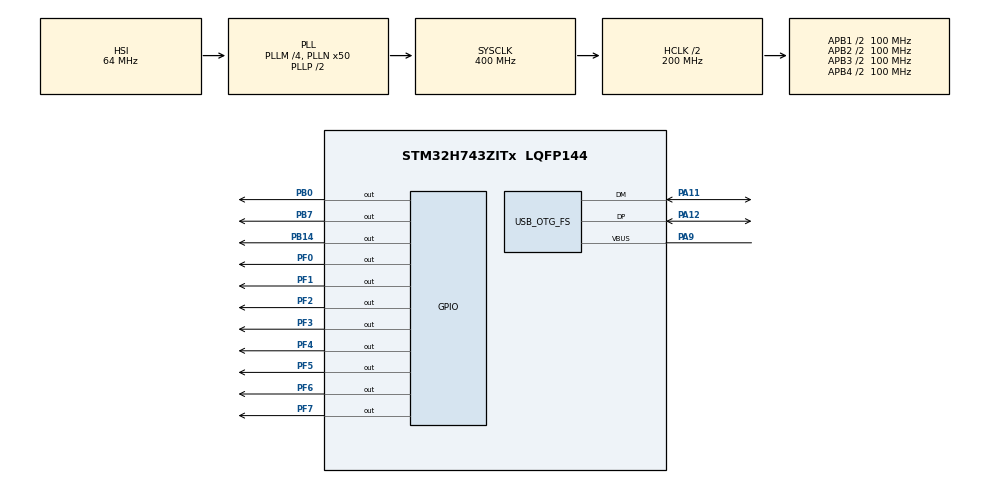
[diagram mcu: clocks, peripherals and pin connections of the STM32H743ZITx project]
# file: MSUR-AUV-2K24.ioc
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CORTEX_M7.CPU_DCache=Enabled
CORTEX_M7.CPU_ICache=Enabled
HRTIM.CompareUnit1-MasterTimer=HRTIM_COMPAREUNIT_1
HRTIM.CompareUnit2-MasterTimer=HRTIM_COMPAREUNIT_2
HRTIM.CompareValue1-MasterTimer=500
HRTIM.CompareValue2-MasterTimer=1000
HRTIM.InterruptRequests1_Master=HRTIM_MASTER_IT_MCMP1
HRTIM.InterruptRequests2_Master=HRTIM_MASTER_IT_MCMP2
HRTIM.InterruptRequests3_Master=HRTIM_MASTER_IT_MREP
HRTIM.InterruptRequests4_Master=HRTIM_MASTER_IT_MUPD
HRTIM.NumberInterruptRequests_Master-MasterTimer=7
HRTIM.Periode_MASTER=1332
Mcu.Family=STM32H7
Mcu.Name=STM32H743ZITx
Mcu.Package=LQFP144
NVIC.HRTIM1_Master_IRQn=true\:0\:0\:false\:false\:true\:true\:true\:true
NVIC.OTG_FS_IRQn=true\:0\:0\:false\:false\:true\:false\:true\:true
NVIC.PriorityGroup=NVIC_PRIORITYGROUP_4
PA11.Mode=Device_Only
PA11.Signal=USB_OTG_FS_DM
PA12.Mode=Device_Only
PA12.Signal=USB_OTG_FS_DP
PA9.Mode=Activate_VBUS
PA9.Signal=USB_OTG_FS_VBUS
PB0.GPIO_Speed=GPIO_SPEED_FREQ_VERY_HIGH
PB0.PinState=GPIO_PIN_RESET
PB0.Signal=GPIO_Output
PB14.GPIO_Speed=GPIO_SPEED_FREQ_VERY_HIGH
PB14.Signal=GPIO_Output
PB7.GPIO_FM7=SYSCFG_PMCR_I2C_PB7_FMP
PB7.GPIO_Speed=GPIO_SPEED_FREQ_VERY_HIGH
PB7.Signal=GPIO_Output
PC14-OSC32_IN\ (OSC32_IN).Mode=LSE-External-Oscillator
PC14-OSC32_IN\ (OSC32_IN).Signal=RCC_OSC32_IN
PC15-OSC32_OUT\ (OSC32_OUT).Mode=LSE-External-Oscillator
PC15-OSC32_OUT\ (OSC32_OUT).Signal=RCC_OSC32_OUT
PF0.GPIO_Speed=GPIO_SPEED_FREQ_VERY_HIGH
PF0.Signal=GPIO_Output
PF1.GPIO_Speed=GPIO_SPEED_FREQ_VERY_HIGH
PF1.Signal=GPIO_Output
PF2.GPIO_Speed=GPIO_SPEED_FREQ_VERY_HIGH
PF2.Signal=GPIO_Output
PF3.GPIO_Speed=GPIO_SPEED_FREQ_VERY_HIGH
PF3.Signal=GPIO_Output
PF4.GPIO_Speed=GPIO_SPEED_FREQ_VERY_HIGH
PF4.Signal=GPIO_Output
PF5.GPIO_Speed=GPIO_SPEED_FREQ_VERY_HIGH
PF5.Signal=GPIO_Output
PF6.GPIO_Speed=GPIO_SPEED_FREQ_VERY_HIGH
PF6.Signal=GPIO_Output
PF7.GPIO_Speed=GPIO_SPEED_FREQ_VERY_HIGH
PF7.Signal=GPIO_Output
PH0-OSC_IN\ (PH0).Mode=HSE-External-Oscillator
PH0-OSC_IN\ (PH0).Signal=RCC_OSC_IN
PH1-OSC_OUT\ (PH1).Mode=HSE-External-Oscillator
PH1-OSC_OUT\ (PH1).Signal=RCC_OSC_OUT
ProjectManager.HeapSize=0x400
ProjectManager.StackSize=0x400
ProjectManager.TargetToolchain=STM32CubeIDE
RCC.ADCFreq_Value=129000000
RCC.APB1Freq_Value=100000000
RCC.APB2Freq_Value=100000000
RCC.APB3Freq_Value=100000000
RCC.APB4Freq_Value=100000000
RCC.CortexFreq_Value=50000000
RCC.Cortex_Div=SYSTICK_CLKSOURCE_HCLK_DIV8
RCC.D1PPRE=RCC_APB3_DIV2
RCC.D2PPRE1=RCC_APB1_DIV2
RCC.D2PPRE2=RCC_APB2_DIV2
RCC.D3PPRE=RCC_APB4_DIV2
RCC.DIVM1=4
RCC.DIVN1=50
RCC.FLatency=FLASH_LATENCY_2
RCC.FLatency-AdvancedSettings=FLASH_LATENCY_1
RCC.HCLKFreq_Value=200000000
RCC.HPRE=RCC_HCLK_DIV2
RCC.HRTIMCLockSelection=RCC_HRTIM1CLK_CPUCLK
RCC.PLL2FRACN=0
RCC.PLL2_VCI_Range-AdvancedSettings=RCC_PLL2VCIRANGE_1
RCC.PLL2_VCO_SEL-AdvancedSettings=RCC_PLL2VCOMEDIUM
RCC.PLL3FRACN=0
RCC.PLLFRACN=0
RCC.PLLSourceVirtual=RCC_PLLSOURCE_HSI
RCC.SYSCLKFreq_VALUE=400000000
RCC.SYSCLKSource=RCC_SYSCLKSOURCE_PLLCLK
RCC.USBCLockSelection=RCC_USBCLKSOURCE_HSI48
RCC.USBFreq_Value=48000000
USB_DEVICE.CLASS_NAME_FS=CDC
USB_DEVICE.USBD_DEBUG_LEVEL-CDC_FS=3
USB_DEVICE.VirtualMode-CDC_FS=Cdc
USB_DEVICE.VirtualModeFS=Cdc_FS
USB_OTG_FS.VirtualMode=Device_Only
USB_OTG_FS.battery_charging_enable=DISABLE
VP_HRTIM_VS_hrtimMasterTimerNoOutput.Mode=MasterTimer
VP_USB_DEVICE_VS_USB_DEVICE_CDC_FS.Mode=CDC_FS
board=custom

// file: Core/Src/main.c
/* USER CODE BEGIN Header */
/**
  ******************************************************************************
  * @file           : main.c
  * @brief          : Main program body
  ******************************************************************************
  * @attention
  *
  * Copyright (c) 2023 STMicroelectronics.
  * All rights reserved.
  *
  * This software is licensed under terms that can be found in the LICENSE file
  * in the root directory of this software component.
  * If no LICENSE file comes with this software, it is provided AS-IS.
  *
  ******************************************************************************
  */
/* USER CODE END Header */
#include "main.h"
#include "usb_device.h"

/* USER CODE BEGIN Includes */
#include "logger.h"

/* USER CODE END Includes */

HRTIM_HandleTypeDef hhrtim;

/* USER CODE BEGIN PV */

uint32_t DMA_GPIOB_On = 1<<14;

uint32_t DMA_GPIOB_Off = 1<<30;

/** Data to recv over USB CDC are stored in this buffer   */
uint8_t CDCRxBufferFS[FS_RX_DATA_SIZE];

/** Data to send over USB CDC are stored in this buffer   */
uint8_t CDCTxBufferFS[FS_TX_DATA_SIZE];

uint32_t TimMRollovers;

uint32_t TimMBit1s;

uint32_t TimMBit0s;

uint32_t Tim16Interrupts;

uint8_t UserInputBuffer[FS_RX_DATA_SIZE/2];
int bufferLen;
/* USER CODE END PV */

void SystemClock_Config(void);
static void MX_GPIO_Init(void);
static void MX_HRTIM_Init(void);

int main(void)
{
/* Enable the CPU Cache */

  /* Enable I-Cache---------------------------------------------------------*/
  SCB_EnableICache();

  /* Enable D-Cache---------------------------------------------------------*/
  SCB_EnableDCache();

  /* MCU Configuration--------------------------------------------------------*/

  /* Reset of all peripherals, Initializes the Flash interface and the Systick. */
  HAL_Init();

  /* Configure the system clock */
  SystemClock_Config();

  /* Initialize all configured peripherals */
  MX_GPIO_Init();
  MX_USB_DEVICE_Init();
  MX_HRTIM_Init();
  /* USER CODE BEGIN 2 */

  HAL_HRTIM_SimpleBaseStart_IT(&hhrtim, HRTIM_TIMERINDEX_MASTER);

  /* USER CODE END 2 */

  /* Infinite loop */
  /* USER CODE BEGIN WHILE */
  uint32_t oldtick = HAL_GetTick();
  uint32_t newtick = oldtick;
  while (1)
  {
	  memset(CDCRxBufferFS, '\0', strlen(CDCRxBufferFS));

	  CDC_OTG_Recv(CDCRxBufferFS);
	  if(strlen(CDCRxBufferFS) > 0){
		  LOG_CDC_FS(TRACE, "%d %d", CDCRxBufferFS[0], CDCRxBufferFS[1]);
		  if(strcmp(CDCRxBufferFS, "a")==0)
		  	HAL_GPIO_TogglePin(GPIOB, GPIO_PIN_0);
		  if(strcmp(CDCRxBufferFS, "s")==0)
		    HAL_GPIO_TogglePin(GPIOB, GPIO_PIN_7);
		  if(strcmp(CDCRxBufferFS, "d")==0)
		  	HAL_GPIO_TogglePin(GPIOB, GPIO_PIN_14);

	  }

	  newtick = HAL_GetTick();
	  if(oldtick + 999 < newtick){
		  LOG_CDC_FS(INFO, "Interrupts from last %d ms: %d rollovers, %d 1s, %d 0s", newtick - oldtick, TimMRollovers, TimMBit1s, TimMBit0s);
		  PrepareFrame(1500, 1, ESC_0, THR_0);
		  TimMRollovers = 0;
		  TimMBit1s = 0;
		  TimMBit0s = 0;
		  oldtick = newtick;
	  }
	  /* Set and reset TD1 by software */

//	  GPIOB->BSRR = 0b100000000000000;
//	  //              ^      ^      ^
//	  GPIOB->BSRR = 0b000000010000000;
//	  //              ^      ^      ^
//	  GPIOB->BSRR = 0b000000000000001;
//	  //              ^      ^      ^
//	  GPIOB->BSRR = 0b100000000000000<<16;
//	  //              ^      ^      ^
//	  GPIOB->BSRR = 0b000000010000000<<16;
//	  //              ^      ^      ^
//	  GPIOB->BSRR = 0b000000000000001<<16;
//	  //              ^      ^      ^
    /* USER CODE END WHILE */

  }
}

void SystemClock_Config(void)
{
  RCC_OscInitTypeDef RCC_OscInitStruct = {0};
  RCC_ClkInitTypeDef RCC_ClkInitStruct = {0};

  /** Supply configuration update enable
  */
  HAL_PWREx_ConfigSupply(PWR_LDO_SUPPLY);

  /** Configure the main internal regulator output voltage
  */
  __HAL_PWR_VOLTAGESCALING_CONFIG(PWR_REGULATOR_VOLTAGE_SCALE1);

  while(!__HAL_PWR_GET_FLAG(PWR_FLAG_VOSRDY)) {}

  /** Initializes the RCC Oscillators according to the specified parameters
  * in the RCC_OscInitTypeDef structure.
  */
  RCC_OscInitStruct.OscillatorType = RCC_OSCILLATORTYPE_HSI48|RCC_OSCILLATORTYPE_HSI;
  RCC_OscInitStruct.HSIState = RCC_HSI_DIV1;
  RCC_OscInitStruct.HSICalibrationValue = RCC_HSICALIBRATION_DEFAULT;
  RCC_OscInitStruct.HSI48State = RCC_HSI48_ON;
  RCC_OscInitStruct.PLL.PLLState = RCC_PLL_ON;
  RCC_OscInitStruct.PLL.PLLSource = RCC_PLLSOURCE_HSI;
  RCC_OscInitStruct.PLL.PLLM = 4;
  RCC_OscInitStruct.PLL.PLLN = 50;
  RCC_OscInitStruct.PLL.PLLP = 2;
  RCC_OscInitStruct.PLL.PLLQ = 2;
  RCC_OscInitStruct.PLL.PLLR = 2;
  RCC_OscInitStruct.PLL.PLLRGE = RCC_PLL1VCIRANGE_3;
  RCC_OscInitStruct.PLL.PLLVCOSEL = RCC_PLL1VCOWIDE;
  RCC_OscInitStruct.PLL.PLLFRACN = 0;
  if (HAL_RCC_OscConfig(&RCC_OscInitStruct) != HAL_OK)
  {
    Error_Handler();
  }

  /** Initializes the CPU, AHB and APB buses clocks
  */
  RCC_ClkInitStruct.ClockType = RCC_CLOCKTYPE_HCLK|RCC_CLOCKTYPE_SYSCLK
                              |RCC_CLOCKTYPE_PCLK1|RCC_CLOCKTYPE_PCLK2
                              |RCC_CLOCKTYPE_D3PCLK1|RCC_CLOCKTYPE_D1PCLK1;
  RCC_ClkInitStruct.SYSCLKSource = RCC_SYSCLKSOURCE_PLLCLK;
  RCC_ClkInitStruct.SYSCLKDivider = RCC_SYSCLK_DIV1;
  RCC_ClkInitStruct.AHBCLKDivider = RCC_HCLK_DIV2;
  RCC_ClkInitStruct.APB3CLKDivider = RCC_APB3_DIV2;
  RCC_ClkInitStruct.APB1CLKDivider = RCC_APB1_DIV2;
  RCC_ClkInitStruct.APB2CLKDivider = RCC_APB2_DIV2;
  RCC_ClkInitStruct.APB4CLKDivider = RCC_APB4_DIV2;

  if (HAL_RCC_ClockConfig(&RCC_ClkInitStruct, FLASH_LATENCY_2) != HAL_OK)
  {
    Error_Handler();
  }
}

static void MX_HRTIM_Init(void)
{

  HRTIM_TimeBaseCfgTypeDef pTimeBaseCfg = {0};
  HRTIM_TimerCfgTypeDef pTimerCfg = {0};
  HRTIM_CompareCfgTypeDef pCompareCfg = {0};

  hhrtim.Instance = HRTIM1;
  hhrtim.Init.HRTIMInterruptResquests = HRTIM_IT_NONE;
  hhrtim.Init.SyncOptions = HRTIM_SYNCOPTION_NONE;
  if (HAL_HRTIM_Init(&hhrtim) != HAL_OK)
  {
    Error_Handler();
  }
  pTimeBaseCfg.Period = 1332;
  pTimeBaseCfg.RepetitionCounter = 0x00;
  pTimeBaseCfg.PrescalerRatio = HRTIM_PRESCALERRATIO_DIV1;
  pTimeBaseCfg.Mode = HRTIM_MODE_CONTINUOUS;
  if (HAL_HRTIM_TimeBaseConfig(&hhrtim, HRTIM_TIMERINDEX_MASTER, &pTimeBaseCfg) != HAL_OK)
  {
    Error_Handler();
  }
  pTimerCfg.InterruptRequests = HRTIM_MASTER_IT_MCMP1|HRTIM_MASTER_IT_MCMP2
                              |HRTIM_MASTER_IT_MREP|HRTIM_MASTER_IT_MUPD;
  pTimerCfg.DMARequests = HRTIM_MASTER_DMA_NONE;
  pTimerCfg.DMASrcAddress = 0x0000;
  pTimerCfg.DMADstAddress = 0x0000;
  pTimerCfg.DMASize = 0x1;
  pTimerCfg.HalfModeEnable = HRTIM_HALFMODE_DISABLED;
  pTimerCfg.StartOnSync = HRTIM_SYNCSTART_DISABLED;
  pTimerCfg.ResetOnSync = HRTIM_SYNCRESET_DISABLED;
  pTimerCfg.DACSynchro = HRTIM_DACSYNC_NONE;
  pTimerCfg.PreloadEnable = HRTIM_PRELOAD_DISABLED;
  pTimerCfg.UpdateGating = HRTIM_UPDATEGATING_INDEPENDENT;
  pTimerCfg.BurstMode = HRTIM_TIMERBURSTMODE_MAINTAINCLOCK;
  pTimerCfg.RepetitionUpdate = HRTIM_UPDATEONREPETITION_DISABLED;
  if (HAL_HRTIM_WaveformTimerConfig(&hhrtim, HRTIM_TIMERINDEX_MASTER, &pTimerCfg) != HAL_OK)
  {
    Error_Handler();
  }
  pCompareCfg.CompareValue = 500;
  if (HAL_HRTIM_WaveformCompareConfig(&hhrtim, HRTIM_TIMERINDEX_MASTER, HRTIM_COMPAREUNIT_1, &pCompareCfg) != HAL_OK)
  {
    Error_Handler();
  }
  pCompareCfg.CompareValue = 1000;
  if (HAL_HRTIM_WaveformCompareConfig(&hhrtim, HRTIM_TIMERINDEX_MASTER, HRTIM_COMPAREUNIT_2, &pCompareCfg) != HAL_OK)
  {
    Error_Handler();
  }

}

static void MX_GPIO_Init(void)
{
  GPIO_InitTypeDef GPIO_InitStruct = {0};

  /* GPIO Ports Clock Enable */
  __HAL_RCC_GPIOC_CLK_ENABLE();
  __HAL_RCC_GPIOF_CLK_ENABLE();
  __HAL_RCC_GPIOH_CLK_ENABLE();
  __HAL_RCC_GPIOB_CLK_ENABLE();
  __HAL_RCC_GPIOA_CLK_ENABLE();

  /*Configure GPIO pin Output Level */
  HAL_GPIO_WritePin(GPIOF, GPIO_PIN_0|GPIO_PIN_1|GPIO_PIN_2|GPIO_PIN_3
                          |GPIO_PIN_4|GPIO_PIN_5|GPIO_PIN_6|GPIO_PIN_7, GPIO_PIN_RESET);

  /*Configure GPIO pin Output Level */
  HAL_GPIO_WritePin(GPIOB, GPIO_PIN_0|GPIO_PIN_14|GPIO_PIN_7, GPIO_PIN_RESET);

  /*Configure GPIO pins : PF0 PF1 PF2 PF3
                           PF4 PF5 PF6 PF7 */
  GPIO_InitStruct.Pin = GPIO_PIN_0|GPIO_PIN_1|GPIO_PIN_2|GPIO_PIN_3
                          |GPIO_PIN_4|GPIO_PIN_5|GPIO_PIN_6|GPIO_PIN_7;
  GPIO_InitStruct.Mode = GPIO_MODE_OUTPUT_PP;
  GPIO_InitStruct.Pull = GPIO_NOPULL;
  GPIO_InitStruct.Speed = GPIO_SPEED_FREQ_VERY_HIGH;
  HAL_GPIO_Init(GPIOF, &GPIO_InitStruct);

  /*Configure GPIO pins : PB0 PB14 PB7 */
  GPIO_InitStruct.Pin = GPIO_PIN_0|GPIO_PIN_14|GPIO_PIN_7;
  GPIO_InitStruct.Mode = GPIO_MODE_OUTPUT_PP;
  GPIO_InitStruct.Pull = GPIO_NOPULL;
  GPIO_InitStruct.Speed = GPIO_SPEED_FREQ_VERY_HIGH;
  HAL_GPIO_Init(GPIOB, &GPIO_InitStruct);

  /**/
  HAL_I2CEx_EnableFastModePlus(SYSCFG_PMCR_I2C_PB7_FMP);

}

/* USER CODE BEGIN 4 */
void InputHandler(void){

}
/* USER CODE END 4 */

void Error_Handler(void)
{
  /* USER CODE BEGIN Error_Handler_Debug */
  /* User can add his own implementation to report the HAL error return state */
  __disable_irq();
  while (1)
  {
		HAL_GPIO_TogglePin(GPIOB, GPIO_PIN_14);
		HAL_Delay(100);

  }
  /* USER CODE END Error_Handler_Debug */
}

#ifdef  USE_FULL_ASSERT
/**
  * @brief  Reports the name of the source file and the source line number
  *         where the assert_param error has occurred.
  * @param  file: pointer to the source file name
  * @param  line: assert_param error line source number
  * @retval None
  */
void assert_failed(uint8_t *file, uint32_t line)
{
  /* USER CODE BEGIN 6 */
	HAL_GPIO_TogglePin(GPIOB, GPIO_PIN_14);
	HAL_Delay(100);
  /* User can add his own implementation to report the file name and line number */
     printf("Assert failed@%s:%d, restarting\r\n", file, line);
     NVIC_SystemReset();
  /* USER CODE END 6 */
}
#endif /* USE_FULL_ASSERT */
